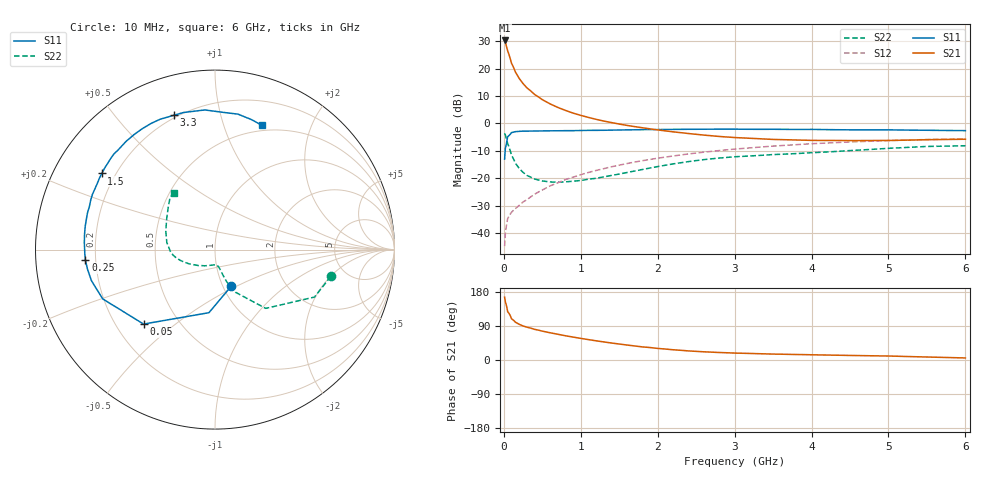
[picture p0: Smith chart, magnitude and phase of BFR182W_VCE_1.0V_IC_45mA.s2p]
! Infineon Technologies  Discrete & RF Semiconductors
! BFR182W
! VCE =  1.0 V,  IC =  45 mA
! Common Emitter S-Parameters:  Jan 2017
# GHz  S  MA  R  50
!  f  S11  S21  S12  S22
! GHz  MAG  ANG  MAG  ANG  MAG  ANG  MAG  ANG
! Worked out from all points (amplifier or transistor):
!   77 points, 10 MHz to 6 GHz, reference 50 ohm
!   highest |S21| = 30.3 dB at 10 MHz (marker M1)
!   |S21| within 3 dB of that: start of sweep to 41.83 MHz
!   unconditionally stable (mu >= 1): start of sweep to 16.59 MHz; 156.4 MHz to end of sweep
!   at 130 MHz: K = 0.90, MSG = 25.9 dB, |S12| = -31.6 dB
!   at 2.2 GHz: K = 1.20, MAG = 1.7 dB, |S12| = -11.9 dB
!   at 6 GHz: K = 1.13, MAG = -2.3 dB, |S12| = -5.6 dB
!   S11 on the Smith chart (normalised r, x): 10 MHz: 1.09, -0.47; 50 MHz: 0.31, -0.39; 250 MHz: 0.16, -0.04; 1.5 GHz: 0.15, +0.30; 3.3 GHz: 0.19, +0.72; 6 GHz: 0.44, +1.35
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0.01  0.2238 -66.5  32.61 165.9  0.0058 63.5  0.6625 -13.0
0.02  0.3531 -95.5  30.38 153.3  0.0099 58.7  0.6143 -25.5
0.05  0.5749 -133.8  21.06 127.3  0.0185 48.1  0.4326 -49.2
0.1  0.6833 -156.3  12.53 108.6  0.0241 46.6  0.2633 -64.4
0.15  0.7098 -165.9  8.697 99.8  0.028 48.5  0.1894 -70.1
0.2  0.7188 -171.3  6.613 94.2  0.0322 52.4  0.1514 -72.5
0.25  0.7245 -175.4  5.335 89.8  0.0371 56.0  0.1284 -74.1
0.3  0.7257 -178.3  4.46 86.6  0.0408 59.1  0.1131 -75.7
0.4  0.7291 176.9  3.38 80.9  0.0513 63.1  0.0971 -78.2
0.5  0.7318 173.2  2.717 76.2  0.0613 65.7  0.0896 -82.1
0.6  0.7348 169.7  2.281 71.9  0.0727 67.1  0.086 -86.2
0.7  0.7362 166.9  1.966 68.0  0.0827 68.6  0.0849 -91.0
0.9  0.7396 161.2  1.545 60.5  0.1051 68.9  0.0886 -101.5
1.1  0.749 155.8  1.289 53.8  0.128 68.5  0.0964 -112.0
1.5  0.7602 146.1  0.976 42.2  0.1739 66.0  0.1197 -132.0
2.1  0.7767 131.8  0.733 28.9  0.244 59.7  0.1733 -154.3
2.6  0.7861 121.0  0.614 21.6  0.2999 53.4  0.2194 -167.5
3.1  0.7853 110.9  0.546 17.8  0.35 46.6  0.2513 -179.2
3.3  0.7827 106.9  0.529 16.7  0.3682 43.9  0.2604 176.1
4.1  0.7763 92.7  0.491 13.4  0.4338 33.5  0.2975 156.7
5.1  0.7622 79.2  0.493 10.0  0.4915 21.3  0.3578 136.2
6  0.7405 69.4  0.516 5.4  0.5268 11.7  0.3928 126.0
